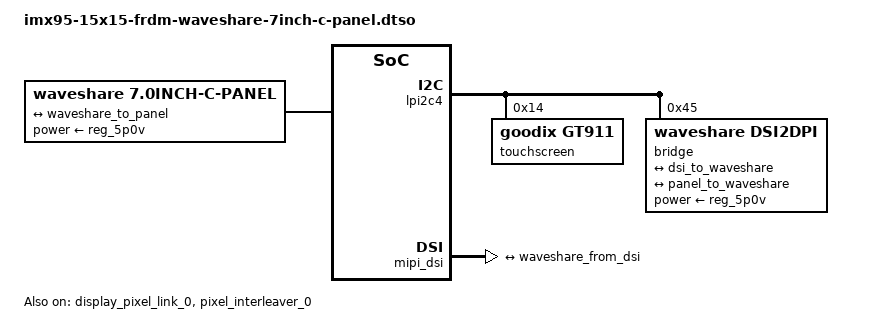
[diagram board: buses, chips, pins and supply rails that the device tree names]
// SPDX-License-Identifier: (GPL-2.0+ OR MIT)
/*
 * Copyright 2025 NXP
 *
 * Device tree overlay for the Waveshare 7inch-C MIPI-DSI panel (DSI-to-DPI
 * bridge + Goodix GT911 touch) on the i.MX95 15x15 FRDM board.
 *
 * Uses the upstream "Add i.MX95 DPU/DSI/LVDS support" display pipeline:
 *   dpu(disp0) -> pixel_interleaver_0 -> display_pixel_link_0 -> mipi_dsi
 * (dpu and displaymix_irqsteer are already enabled by the base board DTS).
 * Requires the matching DC/MIPI-DSI drivers from that series.
 */

/dts-v1/;
/plugin/;

&{/} {
	panel {
		compatible = "waveshare,7.0inch-c-panel", "panel-dpi";
		power-supply = <&reg_5p0v>;

		port {
			panel_to_waveshare: endpoint {
				remote-endpoint = <&waveshare_to_panel>;
			};
		};

		panel-timing {
			clock-frequency = <50000000>;
			hactive = <1024>;
			vactive = <600>;
			hfront-porch = <100>;
			hback-porch = <100>;
			hsync-len = <100>;
			vback-porch = <10>;
			vfront-porch = <10>;
			vsync-len = <10>;

			hsync-active = <0>;
			vsync-active = <0>;
			de-active = <1>;
			pixelclk-active = <1>;
		};
	};
};

&display_pixel_link_0 {
	status = "okay";
};

&pixel_interleaver_0 {
	status = "okay";
};

&lpi2c4 {
	#address-cells = <1>;
	#size-cells = <0>;

	touchscreen@14 {
		compatible = "goodix,gt911";
		reg = <0x14>;
		touchscreen-size-x = <800>;
		touchscreen-size-y = <480>;
	};

	bridge@45 {
		compatible = "waveshare,dsi2dpi";
		reg = <0x45>;
		power-supply = <&reg_5p0v>;

		ports {
			#address-cells = <1>;
			#size-cells = <0>;

			port@0 {
				reg = <0>;

				waveshare_from_dsi: endpoint {
					data-lanes = <1 2>;
					remote-endpoint = <&dsi_to_waveshare>;
				};
			};

			port@1 {
				reg = <1>;

				waveshare_to_panel: endpoint {
					remote-endpoint = <&panel_to_waveshare>;
				};
			};
		};
	};
};

&mipi_dsi {
	status = "okay";

	ports {
		#address-cells = <1>;
		#size-cells = <0>;

		port@1 {
			reg = <1>;

			dsi_to_waveshare: endpoint {
				remote-endpoint = <&waveshare_from_dsi>;
			};
		};
	};
};
